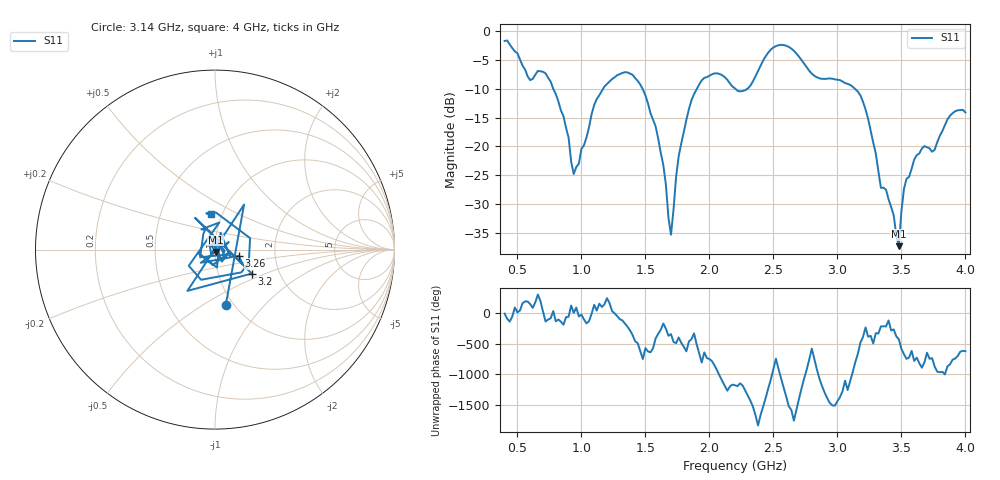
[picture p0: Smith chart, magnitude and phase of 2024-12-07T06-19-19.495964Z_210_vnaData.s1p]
!Created with skrf (http://scikit-rf.org).
# Hz S RI R 50.0
!freq ReS11 ImS11
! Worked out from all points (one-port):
!   181 points, 400 MHz to 4 GHz, reference 50 ohm
!   lowest |S11| = -37.3 dB at 3.48 GHz (marker M1), VSWR 1.03, Z = 50.4 - j1.29 ohm
!   |S11| at or under -10 dB: 779.9 MHz to 1.17 GHz (389.7 MHz wide, 40 % of centre); 1.478 GHz to 1.902 GHz (423.8 MHz wide, 25.1 % of centre); 3.138 GHz to end of sweep (the widest 3 of 4)
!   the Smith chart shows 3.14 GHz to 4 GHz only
!   S11 on the Smith chart (normalised r, x): 3.14 GHz: 0.92, -0.63; 3.2 GHz: 1.45, -0.41; 3.26 GHz: 1.30, -0.09; 4 GHz: 0.89, +0.36
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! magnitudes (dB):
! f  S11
! 400 MHz  -1.7
! 600 MHz  -8.5
! 720 MHz  -7.3
! 860 MHz  -14.8
! 940 MHz  -24.8
! 1.12 GHz  -11.8
! 1.3 GHz  -7.5
! 1.46 GHz  -9.3
! 1.58 GHz  -16.5
! 1.64 GHz  -23.3
! 1.7 GHz  -35.3
! 1.76 GHz  -21.7
! 1.86 GHz  -12.0
! 1.94 GHz  -8.5
! 2.2 GHz  -9.9
! 2.5 GHz  -2.8
! 2.66 GHz  -3.4
! 3.1 GHz  -9.3
! 3.14 GHz  -10.0
! 3.2 GHz  -12.2
! 3.26 GHz  -17.3
! 3.34 GHz  -27.2
! 3.38 GHz  -27.5
! 3.48 GHz  -37.3
! 3.52 GHz  -27.4
! 3.56 GHz  -25.3
! 3.88 GHz  -14.7
! 4 GHz  -14.1
